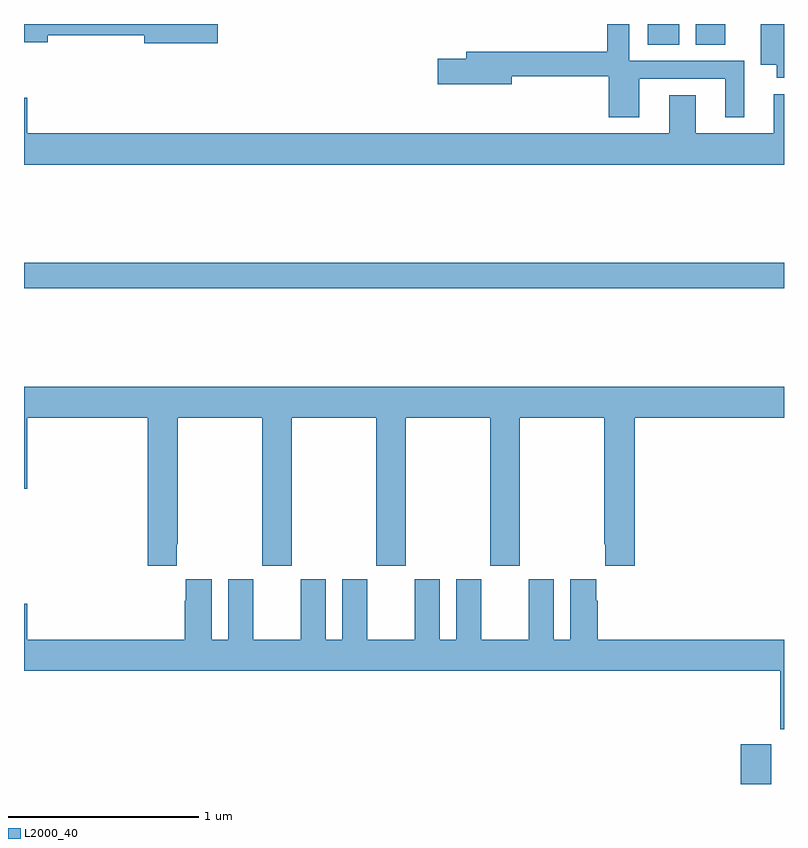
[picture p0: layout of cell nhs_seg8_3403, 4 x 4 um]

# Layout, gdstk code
import gdstk
lib = gdstk.Library(unit=1e-6, precision=1e-09)
def R(c, l, rs):  # rectangles x0, y0, x1, y1
    for r in rs: c.add(gdstk.rectangle(r[:2], r[2:], *l))
def P(c, l, *ps):  # polygons
    for p in ps: c.add(gdstk.Polygon(p, *l))
L2000_40 = (2000, 40)

nhs_seg8_3403 = lib.new_cell('nhs_seg8_3403')
R(nhs_seg8_3403, L2000_40, [(324.773,1119.9,324.933,1120.108), (321,1122.508,325,1122.644), (324.284,1123.792,324.448,1123.9), (324.536,1123.792,324.691,1123.9)])
P(nhs_seg8_3403, L2000_40, [(322.021,1123.9),(321,1123.9),(321,1123.805),(321.124,1123.805),(321.124,1123.84),(321.632,1123.84),(321.632,1123.798),(322.021,1123.798)],
  [(324.238,1123.611),(324.692,1123.611),(324.692,1123.41),(324.79,1123.41),(324.79,1123.707),(324.186,1123.707),(324.186,1123.9),(324.07,1123.9),(324.07,1123.754),(323.327,1123.754),(323.327,1123.718),(323.178,1123.718),(323.178,1123.583),(323.566,1123.583),(323.566,1123.626),(324.077,1123.626),(324.077,1123.41),(324.238,1123.41)],
  [(325,1123.9),(324.878,1123.9),(324.878,1123.685),(324.962,1123.685),(324.962,1123.617),(325,1123.617)],
  [(325,1123.531),(324.947,1123.531),(324.947,1123.324),(324.535,1123.324),(324.535,1123.526),(324.395,1123.526),(324.395,1123.324),(321.016,1123.324),(321.016,1123.513),(321,1123.513),(321,1123.16),(325,1123.16)],
  [(321.805,1121.161),(321.81,1121.161),(321.81,1121.828),(322.255,1121.828),(322.255,1121.049),(322.41,1121.049),(322.41,1121.828),(322.855,1121.828),(322.855,1121.049),(323.01,1121.049),(323.01,1121.828),(323.455,1121.828),(323.455,1121.049),(323.61,1121.049),(323.61,1121.828),(324.055,1121.828),(324.055,1121.161),(324.059,1121.161),(324.059,1121.049),(324.215,1121.049),(324.215,1121.828),(325,1121.828),(325,1121.992),(321,1121.992),(321,1121.454),(321.016,1121.454),(321.016,1121.828),(321.65,1121.828),(321.65,1121.049),(321.805,1121.049)],
  [(325,1120.66),(324.02,1120.66),(324.02,1120.865),(324.013,1120.865),(324.013,1120.978),(323.876,1120.978),(323.876,1120.66),(323.788,1120.66),(323.788,1120.978),(323.657,1120.978),(323.657,1120.66),(323.407,1120.66),(323.407,1120.978),(323.276,1120.978),(323.276,1120.66),(323.188,1120.66),(323.188,1120.978),(323.057,1120.978),(323.057,1120.66),(322.807,1120.66),(322.807,1120.978),(322.676,1120.978),(322.676,1120.66),(322.588,1120.66),(322.588,1120.978),(322.457,1120.978),(322.457,1120.66),(322.207,1120.66),(322.207,1120.978),(322.076,1120.978),(322.076,1120.66),(321.988,1120.66),(321.988,1120.978),(321.851,1120.978),(321.851,1120.865),(321.845,1120.865),(321.845,1120.66),(321.016,1120.66),(321.016,1120.849),(321,1120.849),(321,1120.496),(324.98,1120.496),(324.98,1120.187),(325,1120.187)])

lib.write_gds('nhs_seg8_3403.gds')
